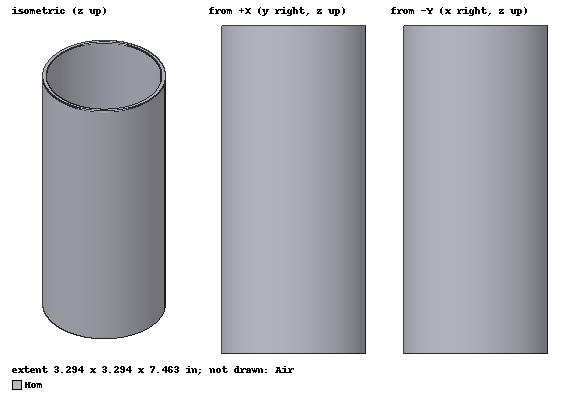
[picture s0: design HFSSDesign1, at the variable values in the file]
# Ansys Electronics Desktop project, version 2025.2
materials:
  vacuum: permittivity=1
  pec: conductivity=1e+30

design HFSSDesign1 (HFSS, HFSS Terminal Network, model units in)
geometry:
  waveguide = cylinder(axis=Z, base_centre=(0in, 0in, 0in), radius=0.838in, height=3in)
  coordinate_system RelativeCS1 = origin=(0in, 0in, 3in) x=(1in, 0in, 0in) y=(0in, 1in, 0in)
  Taper = cone(axis=Z, base_centre=(0in, 0in, 0in), bottom_radius=0.838in, top_radius=1.547in, height=1.227in) in RelativeCS1
  coordinate_system RelativeCS2 = origin=(0in, 0in, 1.227in) x=(1in, 0in, 0in) y=(0in, 1in, 0in) in RelativeCS1
  Throat = cylinder(axis=Z, base_centre=(0in, 0in, 0in), radius=1.547in, height=3.236in) in RelativeCS2
  Taper.unite(Throat, waveguide)
  Hom [pec] = cylinder(axis=Z, base_centre=(0in, 0in, 0in), radius=1.647in, height=7.463in)
  Hom.subtract(Taper)
  Air [vacuum] = cylinder(axis=Z, base_centre=(0in, 0in, 0in), radius=2.2in, height=8.2in)
  p1 = circle(normal=Z, centre=(0in, 0in, 0in), radius=0.82462113in)
  coordinate_system RelativeCS3 = origin=(0in, 0in, 7.463in) x=(1in, 0in, 0in) y=(0in, 1in, 0in)
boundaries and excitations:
  Rad1: Radiation Objects=Air
  1: Wave Port Objects=p1 WavePortType=Modal NumModes=1 Modes{Mode1{IntLine{(0.82462113, 0, 0) -> (-31.496063in, 0in, 0in)} CharImp=Zpi}}
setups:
  Setup1: HfssDriven Frequency=10GHz MaxDeltaS=0.02 MaximumPasses=10 MinimumPasses=1 MinimumConvergedPasses=1 PercentRefinement=30 BasisOrder=1 PortAccuracy=2 DrivenSolverType="Direct Solver"
    sweep Sweep: 5GHz to 15GHz, 401 points; Type=Interpolating InterpTolerance=0.5 InterpMaxSolns=250 PassivityErrorTolerance=0.0001
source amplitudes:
  1:1: 1V 0deg
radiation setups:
  Infinite Sphere1: Infinite Sphere Theta=-180deg..180deg step 2deg Phi=0deg..90deg step 90deg CoordSystem=RelativeCS3
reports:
  S Parameter Plot1: dB(S(1,1)) vs Freq on Setup1 : Sweep; markers m1 at 8.725GHz, MX1 at x=1e+10
  Gain Plot1: dB(GainTotal) vs Theta on Setup1 : LastAdaptive, Infinite Sphere1 [Phi=all Freq=10GHz]
  Gain Plot2: dB(GainTotal) vs Phi, Theta on Setup1 : LastAdaptive, Infinite Sphere1 [Freq=10GHz]
